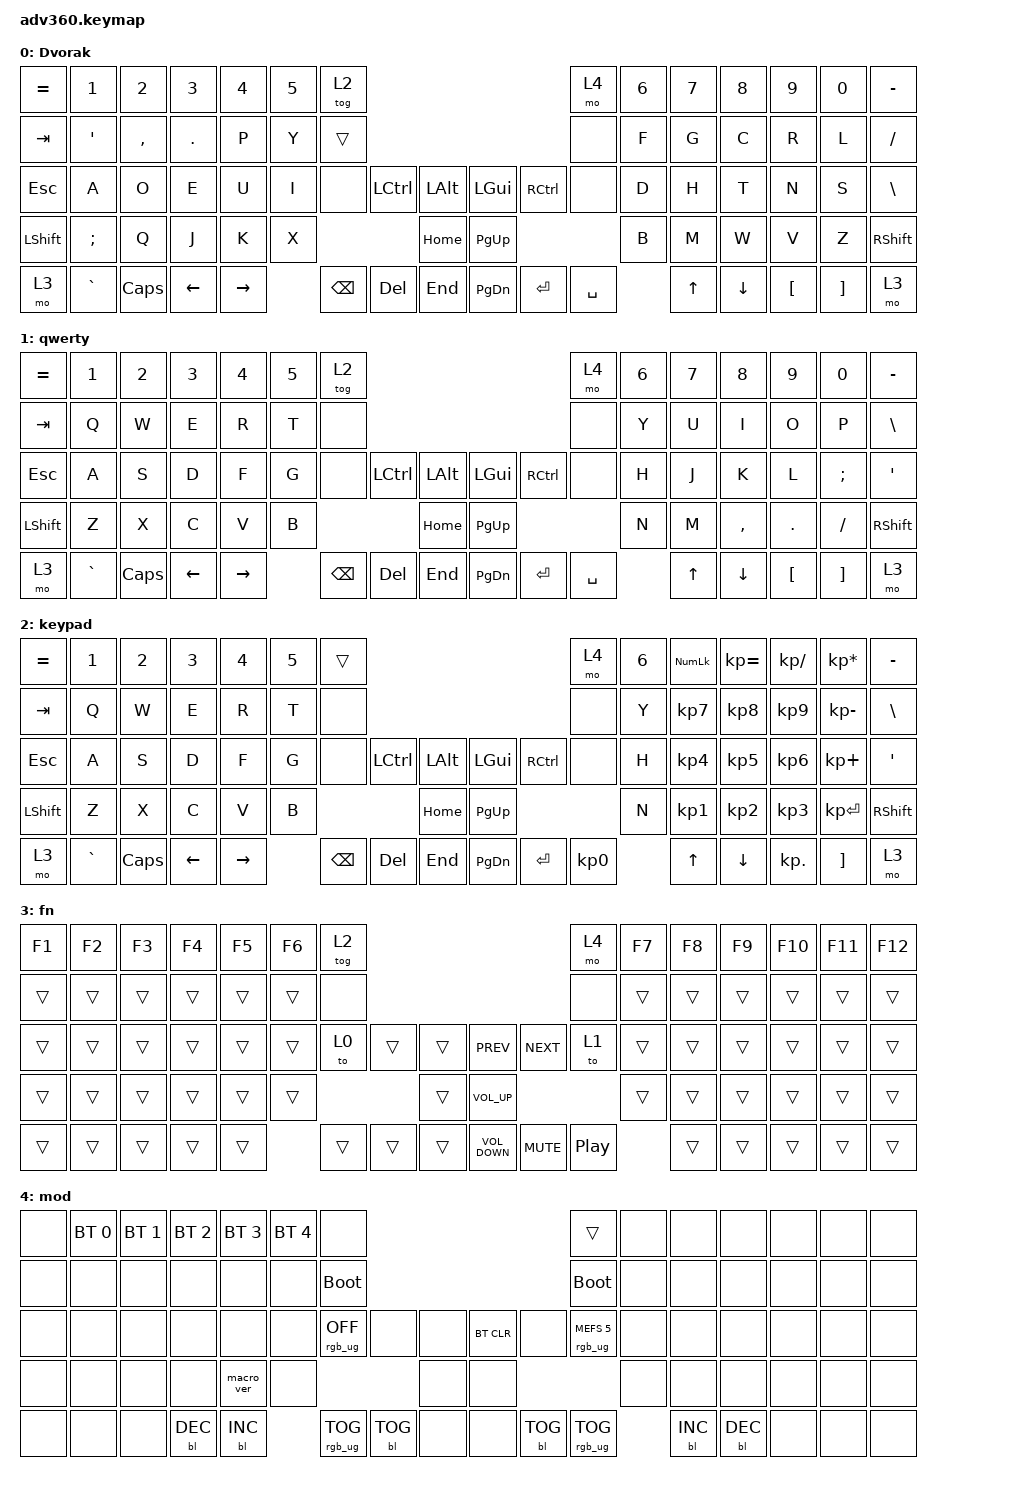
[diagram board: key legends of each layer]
#include <behaviors.dtsi>
#include <dt-bindings/zmk/backlight.h>
#include <dt-bindings/zmk/bt.h>
#include <dt-bindings/zmk/keys.h>
#include <dt-bindings/zmk/rgb.h>

/ {
    behaviors {
        #include "macros.dtsi"
      #include "version.dtsi"
      #ifndef VERSION_MACRO

        macro_ver: macro_ver {
            compatible = "zmk,behavior-macro";
            label = "macro_version";
            #binding-cells = <0>;
            bindings = <&kp RET>;
        };

        #endif

        hm: homerow_mods {
            compatible = "zmk,behavior-hold-tap";
            label = "HOMEROW_MODS";
            #binding-cells = <2>;
            tapping-term-ms = <200>;
            quick_tap_ms = <175>;
            flavor = "tap-preferred";
            bindings = <&kp>, <&kp>;
        };
    };

    combos {
        compatible = "zmk,combos";

        Copy_1 {
            bindings = <&kp RG(C)>;
            key-positions = <35 1>;
            layers = <0>;
        };

        Paste_2 {
            bindings = <&kp LG(V)>;
            key-positions = <35 2>;
            layers = <0>;
        };

        Cut_3 {
            bindings = <&kp RG(X)>;
            key-positions = <35 3>;
            layers = <0>;
        };
    };

    macros {
    };

    keymap {
        compatible = "zmk,keymap";

        Dvorak {
            bindings = <
&kp EQUAL  &kp N1         &kp N2     &kp N3      &kp N4     &kp N5  &tog 2                                                   &mo 4      &kp N6  &kp N7  &kp N8    &kp N9    &kp N0    &kp MINUS
&kp TAB    &kp SQT        &kp COMMA  &kp PERIOD  &kp P      &kp Y   &trans                                                   &none      &kp F   &kp G   &kp C     &kp R     &kp L     &kp SLASH
&kp ESC    &kp A          &kp O      &kp E       &kp U      &kp I   &none     &kp LCTRL  &kp LALT      &kp LGUI   &kp RCTRL  &none      &kp D   &kp H   &kp T     &kp N     &kp S     &kp BACKSLASH
&kp LSHFT  &kp SEMICOLON  &kp Q      &kp J       &kp K      &kp X                        &kp HOME      &kp PG_UP                        &kp B   &kp M   &kp W     &kp V     &kp Z     &kp RSHFT
&mo 3      &kp GRAVE      &kp CAPS   &kp LEFT    &kp RIGHT          &kp BSPC  &kp DEL    &kp END       &kp PG_DN  &kp ENTER  &kp SPACE          &kp UP  &kp DOWN  &kp LBKT  &kp RBKT  &mo 3
            >;
        };

        qwerty {
            bindings = <
&kp EQUAL  &kp N1     &kp N2    &kp N3    &kp N4     &kp N5  &tog 2                                                   &mo 4      &kp N6  &kp N7  &kp N8     &kp N9    &kp N0    &kp MINUS
&kp TAB    &kp Q      &kp W     &kp E     &kp R      &kp T   &none                                                    &none      &kp Y   &kp U   &kp I      &kp O     &kp P     &kp BSLH
&kp ESC    &kp A      &kp S     &kp D     &kp F      &kp G   &none     &kp LCTRL  &kp LALT      &kp LGUI   &kp RCTRL  &none      &kp H   &kp J   &kp K      &kp L     &kp SEMI  &kp SQT
&kp LSHFT  &kp Z      &kp X     &kp C     &kp V      &kp B                        &kp HOME      &kp PG_UP                        &kp N   &kp M   &kp COMMA  &kp DOT   &kp FSLH  &kp RSHFT
&mo 3      &kp GRAVE  &kp CAPS  &kp LEFT  &kp RIGHT          &kp BSPC  &kp DEL    &kp END       &kp PG_DN  &kp ENTER  &kp SPACE          &kp UP  &kp DOWN   &kp LBKT  &kp RBKT  &mo 3
            >;
        };

        keypad {
            bindings = <
&kp EQUAL  &kp N1     &kp N2    &kp N3    &kp N4     &kp N5  &trans                                                   &mo 4      &kp N6  &kp KP_NUM  &kp KP_EQUAL  &kp KP_DIVIDE  &kp KP_MULTIPLY  &kp MINUS
&kp TAB    &kp Q      &kp W     &kp E     &kp R      &kp T   &none                                                    &none      &kp Y   &kp KP_N7   &kp KP_N8     &kp KP_N9      &kp KP_MINUS     &kp BSLH
&kp ESC    &kp A      &kp S     &kp D     &kp F      &kp G   &none     &kp LCTRL  &kp LALT      &kp LGUI   &kp RCTRL  &none      &kp H   &kp KP_N4   &kp KP_N5     &kp KP_N6      &kp KP_PLUS      &kp SQT
&kp LSHFT  &kp Z      &kp X     &kp C     &kp V      &kp B                        &kp HOME      &kp PG_UP                        &kp N   &kp KP_N1   &kp KP_N2     &kp KP_N3      &kp KP_ENTER     &kp RSHFT
&mo 3      &kp GRAVE  &kp CAPS  &kp LEFT  &kp RIGHT          &kp BSPC  &kp DEL    &kp END       &kp PG_DN  &kp ENTER  &kp KP_N0          &kp UP      &kp DOWN      &kp KP_DOT     &kp RBKT         &mo 3
            >;
        };

        fn {
            bindings = <
&kp F1  &kp F2  &kp F3  &kp F4  &kp F5  &kp F6  &tog 2                                                     &mo 4     &kp F7  &kp F8  &kp F9  &kp F10  &kp F11  &kp F12
&trans  &trans  &trans  &trans  &trans  &trans  &none                                                      &none     &trans  &trans  &trans  &trans   &trans   &trans
&trans  &trans  &trans  &trans  &trans  &trans  &to 0   &trans  &trans      &kp C_PREV         &kp C_NEXT  &to 1     &trans  &trans  &trans  &trans   &trans   &trans
&trans  &trans  &trans  &trans  &trans  &trans                  &trans      &kp C_VOLUME_UP                          &trans  &trans  &trans  &trans   &trans   &trans
&trans  &trans  &trans  &trans  &trans          &trans  &trans  &trans      &kp C_VOLUME_DOWN  &kp K_MUTE  &kp C_PP          &trans  &trans  &trans   &trans   &trans
            >;
        };

        mod {
            bindings = <
&none  &bt BT_SEL 0  &bt BT_SEL 1  &bt BT_SEL 2  &bt BT_SEL 3  &bt BT_SEL 4  &none                                                           &trans                  &none  &none       &none       &none  &none  &none
&none  &none         &none         &none         &none         &none         &bootloader                                                     &bootloader             &none  &none       &none       &none  &none  &none
&none  &none         &none         &none         &none         &none         &rgb_ug RGB_OFF  &none       &none      &bt BT_CLR  &none       &rgb_ug RGB_MEFS_CMD 5  &none  &none       &none       &none  &none  &none
&none  &none         &none         &none         &macro_ver    &none                                      &none      &none                                           &none  &none       &none       &none  &none  &none
&none  &none         &none         &bl BL_DEC    &bl BL_INC                  &rgb_ug RGB_TOG  &bl BL_TOG  &none      &none       &bl BL_TOG  &rgb_ug RGB_TOG                &bl BL_INC  &bl BL_DEC  &none  &none  &none
            >;
        };
    };
};
